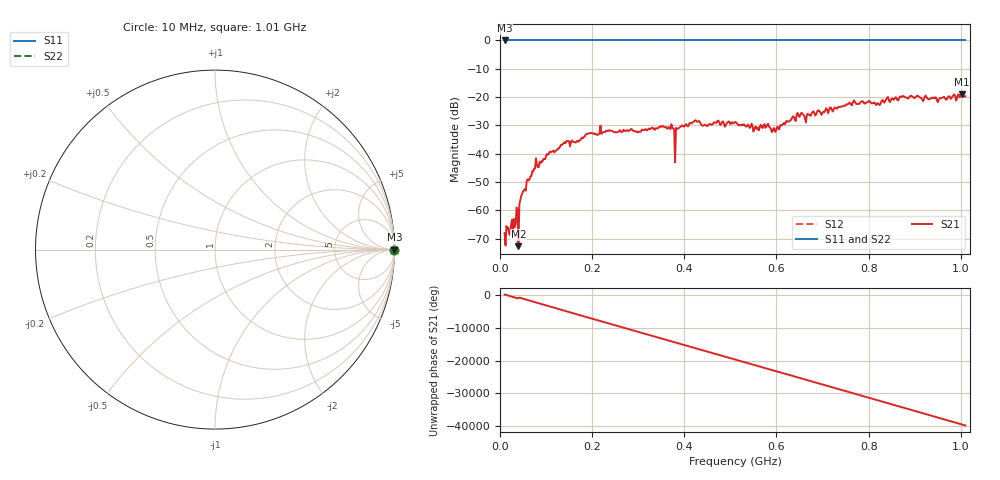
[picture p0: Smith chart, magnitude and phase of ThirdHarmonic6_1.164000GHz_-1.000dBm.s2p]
! 8/16/2025 11:42:42 AM
! C:\ANRITSUVNA\TEMP\TEMP.S2P
! CHANNEL.1
! TR.MEASUREMENT
! RAW.DATA
! RF.CORRECTION.OFF
! AVERAGING.OFF
! IF.BANDWIDTH: 5KHZ
! SWEEPTYPE:  FREQ.SWEEP(Linear)
! Reference Plane Port Info
! PORT:  PORT1  PORT2
! DISTANCE:  0  m  0  m
! TIME:  0  s  0  s
! PHASE.OFFSET:  0  deg.  0  deg.
! LOSS:  0  dB  0  dB
! REF.LOSS:  0  dB  0  dB
! REF.FREQ:  0  Hz  0  Hz
! Power Info
! POWER:  -20  dBm  -20  dBm
! EFF.POWER:  -20  dBm  -20  dBm
! SOURCE.ATTEN:  0  dB  0  dB
! TEST.ATTEN:  0  dB  0  dB
# GHZ S RI R 50.0
! FREQ.GHZ  S11RE  S11IM  S21RE  S21IM  S12RE  S12IM  S22RE  S22IM
!; PortSelection: Port_12
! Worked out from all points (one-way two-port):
!   501 points, 10 MHz to 1.01 GHz, reference 50 ohm
!   highest |S21| = -18.95 dB at 1.002 GHz (marker M1); lowest = -72.6 dB at 40 MHz (marker M2)
!   lowest |S11| = 0.0 dB at 10 MHz (marker M3)
!   |S11| at or under -10 dB: nowhere
!   |S22| runs from 0.0 to 0.0 dB; largest |S21 - S12| = 1.1
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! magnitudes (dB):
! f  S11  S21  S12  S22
! 10 MHz  0.0  -68.0  0.0  0.0
! 24 MHz  0.0  -65.1  0.0  0.0
! 34 MHz  0.0  -64.7  0.0  0.0
! 36 MHz  0.0  -59.0  0.0  0.0
! 40 MHz  0.0  -72.6  0.0  0.0
! 48 MHz  0.0  -54.2  0.0  0.0
! 76 MHz  0.0  -45.2  0.0  0.0
! 142 MHz  0.0  -36.3  0.0  0.0
! 178 MHz  0.0  -34.3  0.0  0.0
! 344 MHz  0.0  -30.9  0.0  0.0
! 374 MHz  0.0  -30.8  0.0  0.0
! 376 MHz  0.0  -31.1  0.0  0.0
! 382 MHz  0.0  -30.8  0.0  0.0
! 386 MHz  0.0  -31.1  0.0  0.0
! 422 MHz  0.0  -28.4  0.0  0.0
! 510 MHz  0.0  -28.8  0.0  0.0
! 594 MHz  0.0  -30.9  0.0  0.0
! 648 MHz  0.0  -26.5  0.0  0.0
! 678 MHz  0.0  -25.4  0.0  0.0
! 844 MHz  0.0  -21.1  0.0  0.0
! 1.002 GHz  0.0  -19.0  0.0  0.0
! 1.01 GHz  0.0  -19.7  0.0  0.0
